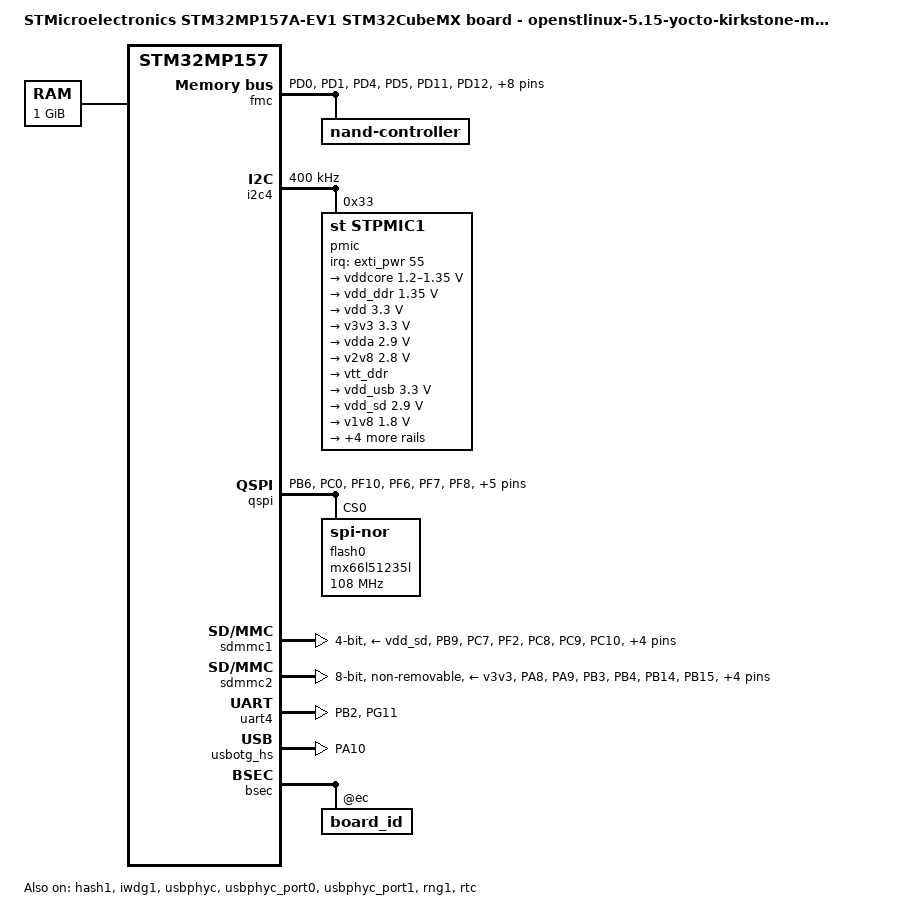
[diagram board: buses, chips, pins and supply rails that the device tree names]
/dts-v1/;
#include <dt-bindings/pinctrl/stm32-pinfunc.h>
#include <dt-bindings/clock/stm32mp1-clksrc.h>
#include "stm32mp15-mx.dtsi"
#include "stm32mp157.dtsi"
#include "stm32mp15xa.dtsi"
#include "stm32mp15xxaa-pinctrl.dtsi"
#include "stm32mp15-ddr.dtsi"

/* USER CODE BEGIN includes */
/* USER CODE END includes */

/{
	model = "STMicroelectronics STM32MP157A-EV1 STM32CubeMX board - openstlinux-5.15-yocto-kirkstone-mp1-v22.11.23";
	compatible = "st,stm32mp157a-board_157a-ev1-mx", "st,stm32mp157a-ev1", "st,stm32mp157";

	/* USER CODE BEGIN root */

	chosen{
		stdout-path = "serial0:115200n8";
	};

	aliases{
		serial0 = &uart4;
		serial1 = &usart3;
	};
	/* USER CODE END root */

	memory@c0000000{
		device_type = "memory";
		reg = <0xc0000000 0x40000000>;
	};

	clocks{

		clk_hsi:clk-hsi{
			clock-frequency = <64000000>;
		};

		clk_lse:clk-lse{
			clock-frequency = <32768>;
			st,drive = < LSEDRV_MEDIUM_HIGH >;
		};

		clk_hse:clk-hse{
			clock-frequency = <24000000>;
			st,digbypass;
		};
	};
};

&pinctrl{

	fmc_pins_mx:fmc_mx-0{

		pins1{
			pinmux = <STM32_PINMUX('D', 0, AF12)>,
					<STM32_PINMUX('D', 1, AF12)>,
					<STM32_PINMUX('D', 4, AF12)>,
					<STM32_PINMUX('D', 5, AF12)>,
					<STM32_PINMUX('D', 11, AF12)>,
					<STM32_PINMUX('D', 12, AF12)>,
					<STM32_PINMUX('D', 14, AF12)>,
					<STM32_PINMUX('D', 15, AF12)>,
					<STM32_PINMUX('E', 7, AF12)>,
					<STM32_PINMUX('E', 8, AF12)>,
					<STM32_PINMUX('E', 9, AF12)>,
					<STM32_PINMUX('E', 10, AF12)>,
					<STM32_PINMUX('G', 9, AF12)>;
			bias-disable;
			drive-push-pull;
			slew-rate = <1>;
		};

		pins2{
			pinmux = <STM32_PINMUX('D', 6, AF12)>;
			bias-pull-up;
		};
	};

	quadspi_pins_mx:quadspi_mx-0{

		pins1{
			pinmux = <STM32_PINMUX('B', 6, AF10)>,
					<STM32_PINMUX('C', 0, AF10)>;
			bias-pull-up;
			drive-push-pull;
			slew-rate = <1>;
		};

		pins2{
			pinmux = <STM32_PINMUX('F', 10, AF9)>;
			bias-disable;
			drive-push-pull;
			slew-rate = <3>;
		};

		pins3{
			pinmux = <STM32_PINMUX('F', 6, AF9)>,
					<STM32_PINMUX('F', 7, AF9)>,
					<STM32_PINMUX('F', 8, AF10)>,
					<STM32_PINMUX('F', 9, AF10)>,
					<STM32_PINMUX('G', 7, AF11)>,
					<STM32_PINMUX('G', 10, AF11)>,
					<STM32_PINMUX('H', 2, AF9)>,
					<STM32_PINMUX('H', 3, AF9)>;
			bias-disable;
			drive-push-pull;
			slew-rate = <1>;
		};
	};

	sdmmc1_pins_mx:sdmmc1_mx-0{

		pins1{
			pinmux = <STM32_PINMUX('B', 9, AF11)>,
					<STM32_PINMUX('C', 7, AF8)>,
					<STM32_PINMUX('F', 2, AF11)>;
			bias-pull-up;
			drive-push-pull;
			slew-rate = <1>;
		};

		pins2{
			pinmux = <STM32_PINMUX('C', 8, AF12)>,
					<STM32_PINMUX('C', 9, AF12)>,
					<STM32_PINMUX('C', 10, AF12)>,
					<STM32_PINMUX('C', 11, AF12)>,
					<STM32_PINMUX('D', 2, AF12)>;
			bias-disable;
			drive-push-pull;
			slew-rate = <1>;
		};

		pins3{
			pinmux = <STM32_PINMUX('C', 12, AF12)>;
			bias-disable;
			drive-push-pull;
			slew-rate = <2>;
		};

		pins4{
			pinmux = <STM32_PINMUX('E', 4, AF8)>;
			bias-pull-up;
		};
	};

	sdmmc2_pins_mx:sdmmc2_mx-0{

		pins1{
			pinmux = <STM32_PINMUX('A', 8, AF9)>,
					<STM32_PINMUX('A', 9, AF10)>,
					<STM32_PINMUX('B', 3, AF9)>,
					<STM32_PINMUX('B', 4, AF9)>,
					<STM32_PINMUX('B', 14, AF9)>,
					<STM32_PINMUX('B', 15, AF9)>,
					<STM32_PINMUX('D', 3, AF9)>,
					<STM32_PINMUX('E', 5, AF9)>,
					<STM32_PINMUX('G', 6, AF10)>;
			bias-pull-up;
			drive-push-pull;
			slew-rate = <1>;
		};

		pins2{
			pinmux = <STM32_PINMUX('E', 3, AF9)>;
			bias-pull-up;
			drive-push-pull;
			slew-rate = <2>;
		};
	};

	uart4_pins_mx:uart4_mx-0{

		pins1{
			pinmux = <STM32_PINMUX('B', 2, AF8)>;
			bias-disable;
		};

		pins2{
			pinmux = <STM32_PINMUX('G', 11, AF6)>;
			bias-disable;
			drive-push-pull;
			slew-rate = <0>;
		};
	};

	usb_otg_hs_pins_mx:usb_otg_hs_mx-0{

		pins{
			pinmux = <STM32_PINMUX('A', 10, ANALOG)>;
		};
	};
};

&pinctrl_z{

	i2c4_pins_z_mx:i2c4_mx-0{

		pins{
			pinmux = <STM32_PINMUX('Z', 4, AF6)>,
					<STM32_PINMUX('Z', 5, AF6)>;
			bias-disable;
			drive-open-drain;
			slew-rate = <0>;
		};
	};
};

&fmc{
	pinctrl-names = "default";
	pinctrl-0 = <&fmc_pins_mx>;
	status = "okay";

	/* USER CODE BEGIN fmc */

	nand-controller@4,0{
		status = "okay";

		nand@0{
			reg = <0>;
			nand-on-flash-bbt;
			#address-cells = <1>;
			#size-cells = <1>;
		};
	};
	/* USER CODE END fmc */
};

&hash1{
	status = "okay";
};

&i2c4{
	pinctrl-names = "default";
	pinctrl-0 = <&i2c4_pins_z_mx>;
	status = "okay";

	/* USER CODE BEGIN i2c4 */
	i2c-scl-rising-time-ns = <185>;
	i2c-scl-falling-time-ns = <20>;
	clock-frequency = <400000>;

	pmic:stpmic@33{
		compatible = "st,stpmic1";
		reg = <0x33>;
		interrupts-extended = <&exti_pwr 55 IRQ_TYPE_EDGE_FALLING>;
		interrupt-controller;
		#interrupt-cells = <2>;
		status = "okay";

		regulators{
			compatible = "st,stpmic1-regulators";
			ldo1-supply = <&v3v3>;
			ldo2-supply = <&v3v3>;
			ldo3-supply = <&vdd_ddr>;
			ldo5-supply = <&v3v3>;
			ldo6-supply = <&v3v3>;
			pwr_sw1-supply = <&bst_out>;
			pwr_sw2-supply = <&bst_out>;

			vddcore:buck1{
				regulator-name = "vddcore";
				regulator-min-microvolt = <1200000>;
				regulator-max-microvolt = <1350000>;
				regulator-always-on;
				regulator-initial-mode = <0>;
				regulator-over-current-protection;
			};

			vdd_ddr:buck2{
				regulator-name = "vdd_ddr";
				regulator-min-microvolt = <1350000>;
				regulator-max-microvolt = <1350000>;
				regulator-always-on;
				regulator-initial-mode = <0>;
				regulator-over-current-protection;
			};

			vdd:buck3{
				regulator-name = "vdd";
				regulator-min-microvolt = <3300000>;
				regulator-max-microvolt = <3300000>;
				regulator-always-on;
				st,mask-reset;
				regulator-initial-mode = <0>;
				regulator-over-current-protection;
			};

			v3v3:buck4{
				regulator-name = "v3v3";
				regulator-min-microvolt = <3300000>;
				regulator-max-microvolt = <3300000>;
				regulator-always-on;
				regulator-over-current-protection;
				regulator-initial-mode = <0>;
			};

			vdda:ldo1{
				regulator-name = "vdda";
				regulator-min-microvolt = <2900000>;
				regulator-max-microvolt = <2900000>;
			};

			v2v8:ldo2{
				regulator-name = "v2v8";
				regulator-min-microvolt = <2800000>;
				regulator-max-microvolt = <2800000>;
			};

			vtt_ddr:ldo3{
				regulator-name = "vtt_ddr";
				regulator-always-on;
				regulator-over-current-protection;
				st,regulator-sink-source;
			};

			vdd_usb:ldo4{
				regulator-name = "vdd_usb";
				regulator-min-microvolt = <3300000>;
				regulator-max-microvolt = <3300000>;
			};

			vdd_sd:ldo5{
				regulator-name = "vdd_sd";
				regulator-min-microvolt = <2900000>;
				regulator-max-microvolt = <2900000>;
				regulator-boot-on;
			};

			v1v8:ldo6{
				regulator-name = "v1v8";
				regulator-min-microvolt = <1800000>;
				regulator-max-microvolt = <1800000>;
			};

			vref_ddr:vref_ddr{
				regulator-name = "vref_ddr";
				regulator-always-on;
			};

			bst_out:boost{
				regulator-name = "bst_out";
			};

			vbus_otg:pwr_sw1{
				regulator-name = "vbus_otg";
			};

			vbus_sw:pwr_sw2{
				regulator-name = "vbus_sw";
				regulator-active-discharge = <1>;
			};
		};
	};
	/* USER CODE END i2c4 */
};

&iwdg1{
	status = "okay";

	/* USER CODE BEGIN iwdg1 */
	timeout-sec = <32>;
	/* USER CODE END iwdg1 */
};

&qspi{
	pinctrl-names = "default";
	pinctrl-0 = <&quadspi_pins_mx>;
	status = "okay";

	/* USER CODE BEGIN qspi */
	reg = <0x58003000 0x1000>, <0x70000000 0x4000000>;
	#address-cells = <1>;
	#size-cells = <0>;

	flash0:mx66l51235l@0{
		compatible = "jedec,spi-nor";
		reg = <0>;
		spi-rx-bus-width = <4>;
		spi-max-frequency = <108000000>;
		#address-cells = <1>;
		#size-cells = <1>;
	};
	/* USER CODE END qspi */
};

&rcc{
	status = "okay";
	st,clksrc = <
		CLK_CKPER_DISABLED
		CLK_FMC_ACLK
		CLK_QSPI_ACLK
		CLK_SDMMC12_PLL4P
		CLK_STGEN_HSE
		CLK_I2C46_HSI
		CLK_USBO_USBPHY
		CLK_UART24_HSI
		CLK_MPU_PLL1P
		CLK_AXI_PLL2P
		CLK_MCU_PLL3P
	>;
	st,clkdiv = <
		DIV(DIV_MPU, 1)
		DIV(DIV_AXI, 0)
		DIV(DIV_MCU, 0)
		DIV(DIV_APB1, 1)
		DIV(DIV_APB2, 1)
		DIV(DIV_APB3, 1)
		DIV(DIV_APB4, 1)
		DIV(DIV_APB5, 2)
		DIV(DIV_RTC, 23)
		DIV(DIV_MCO1, 0)
		DIV(DIV_MCO2, 0)
	>;

	/* USER CODE BEGIN rcc */
	compatible = "st,stm32mp1-rcc-secure", "st,stm32mp1-rcc", "syscon";
	/* USER CODE END rcc */

	st,pll_vco{

		pll2_vco_1066Mhz:pll2-vco-1066Mhz{
			src = < CLK_PLL12_HSE >;
			divmn = < 2 65 >;
			frac = < 0x1400 >;
		};

		pll3_vco_417Mhz:pll3-vco-417Mhz{
			src = < CLK_PLL3_HSE >;
			divmn = < 1 33 >;
			frac = < 0x1a04 >;
		};

		pll4_vco_594Mhz:pll4-vco-594Mhz{
			src = < CLK_PLL4_HSE >;
			divmn = < 3 98 >;
		};
	};

	pll2:st,pll@1{
		compatible = "st,stm32mp1-pll";
		reg = <1>;
		st,pll = < &pll2_cfg1 >;

		pll2_cfg1:pll2_cfg1{
			st,pll_vco = < &pll2_vco_1066Mhz >;
			st,pll_div_pqr = < 1 0 0 >;
		};
	};

	pll3:st,pll@2{
		compatible = "st,stm32mp1-pll";
		reg = <2>;
		st,pll = < &pll3_cfg1 >;

		pll3_cfg1:pll3_cfg1{
			st,pll_vco = < &pll3_vco_417Mhz >;
			st,pll_div_pqr = < 1 16 36 >;
		};
	};

	pll4:st,pll@3{
		compatible = "st,stm32mp1-pll";
		reg = <3>;
		st,pll = < &pll4_cfg1 >;

		pll4_cfg1:pll4_cfg1{
			st,pll_vco = < &pll4_vco_594Mhz >;
			st,pll_div_pqr = < 5 7 7 >;
		};
	};
};

&sdmmc1{
	pinctrl-names = "default";
	pinctrl-0 = <&sdmmc1_pins_mx>;
	status = "okay";

	/* USER CODE BEGIN sdmmc1 */
	disable-wp;
	st,sig-dir;
	st,neg-edge;
	st,use-ckin;
	bus-width = <4>;
	vmmc-supply = <&vdd_sd>;
	sd-uhs-sdr12;
	sd-uhs-sdr25;
	sd-uhs-sdr50;
	sd-uhs-ddr50;
	/* USER CODE END sdmmc1 */
};

&sdmmc2{
	pinctrl-names = "default";
	pinctrl-0 = <&sdmmc2_pins_mx>;
	status = "okay";

	/* USER CODE BEGIN sdmmc2 */
	non-removable;
	no-sd;
	no-sdio;
	st,neg-edge;
	bus-width = <8>;
	vmmc-supply = <&v3v3>;
	vqmmc-supply = <&vdd>;
	mmc-ddr-3_3v;
	/* USER CODE END sdmmc2 */
};

&uart4{
	pinctrl-names = "default";
	pinctrl-0 = <&uart4_pins_mx>;
	status = "okay";
};

&usbotg_hs{
	pinctrl-names = "default";
	pinctrl-0 = <&usb_otg_hs_pins_mx>;
	status = "okay";
};

&usbphyc{
	status = "okay";
};

&usbphyc_port0{
	status = "okay";
};

&usbphyc_port1{
	status = "okay";
};

/* USER CODE BEGIN addons */

&bsec{

	board_id:board_id@ec{
		reg = <0xec 0x4>;
		st,non-secure-otp;
	};
};

&cpu0{
	cpu-supply = <&vddcore>;
};

&cpu1{
	cpu-supply = <&vddcore>;
};

&pwr_regulators{
	vdd-supply = <&vdd>;
	vdd_3v3_usbfs-supply = <&vdd_usb>;
};

&rng1{
	status = "okay";
};

&rtc{
	status = "okay";
};
/* USER CODE END addons */
